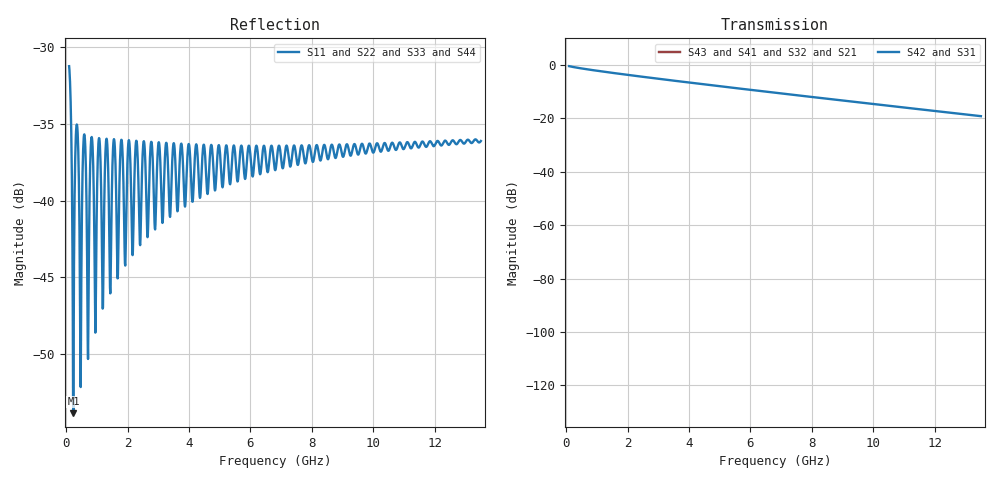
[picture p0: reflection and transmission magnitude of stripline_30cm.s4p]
! Touchstone generated by fitter/viewer
! HL_PORTMAP 1.0
! PORT  1  (PIN N1, Net001, S)
! PORT  2  (PIN N2, Net002, S)
! PORT  3  (PIN N3, Net001, S)
! PORT  4  (PIN N4, Net002, S)
! CONNECT 1, 3;
! CONNECT 2, 4;
! END_HL_PORTMAP
# HZ S  RI R 5.000000e+01
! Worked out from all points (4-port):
!   1351 points, 100 MHz to 13.5 GHz, reference 50 ohm
!   strongest paths, dB at 100 MHz, 3.445 GHz, 6.8 GHz, 10.15 GHz, 13.5 GHz:
!     S42: -0.4, -5.8, -10.4, -14.8, -19.1
!     S31: -0.4, -5.8, -10.4, -14.8, -19.1
!     S43: -, -, -, -, -
!     S41: -, -, -, -, -
!     S32: -, -, -, -, -
!     S21: -, -, -, -, -
!   lowest |S11| = -53.8 dB at 239 MHz (marker M1), VSWR 1.00, Z = 50.2 + j0.0358 ohm
!   |S11| at or under -10 dB: start of sweep to end of sweep
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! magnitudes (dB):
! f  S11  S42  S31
! 100 MHz  -31.3  -0.4  -0.4
! 239 MHz  -53.8  -0.8  -0.8
! 348.1 MHz  -35.1  -1.0  -1.0
! 477.2 MHz  -52.1  -1.2  -1.2
! 596.3 MHz  -35.7  -1.4  -1.4
! 715.4 MHz  -50.3  -1.6  -1.6
! 13.5 GHz  -36.1  -19.1  -19.1
